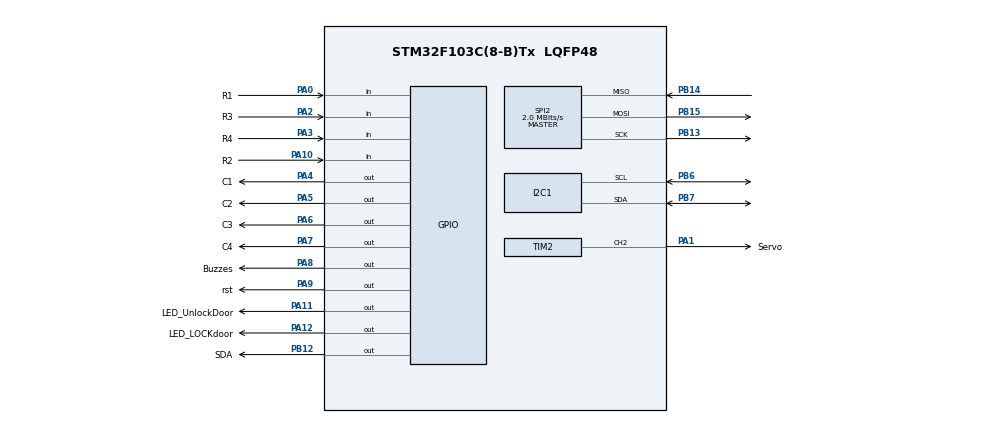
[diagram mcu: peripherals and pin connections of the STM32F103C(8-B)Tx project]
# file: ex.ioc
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Mcu.Family=STM32F1
Mcu.Name=STM32F103C(8-B)Tx
Mcu.Package=LQFP48
NVIC.PriorityGroup=NVIC_PRIORITYGROUP_4
PA0-WKUP.GPIO_Label=R1
PA0-WKUP.GPIO_PuPd=GPIO_PULLUP
PA0-WKUP.Signal=GPIO_Input
PA1.GPIO_Label=Servo
PA1.Signal=S_TIM2_CH2
PA10.GPIO_Label=R2
PA10.GPIO_PuPd=GPIO_PULLUP
PA10.Signal=GPIO_Input
PA11.GPIO_Label=LED_UnlockDoor
PA11.Signal=GPIO_Output
PA12.GPIO_Label=LED_LOCKdoor
PA12.Signal=GPIO_Output
PA13.Mode=Serial_Wire
PA13.Signal=SYS_JTMS-SWDIO
PA14.Mode=Serial_Wire
PA14.Signal=SYS_JTCK-SWCLK
PA2.GPIO_Label=R3
PA2.GPIO_PuPd=GPIO_PULLUP
PA2.Signal=GPIO_Input
PA3.GPIO_Label=R4
PA3.GPIO_PuPd=GPIO_PULLUP
PA3.Signal=GPIO_Input
PA4.GPIO_Label=C1
PA4.Signal=GPIO_Output
PA5.GPIO_Label=C2
PA5.Signal=GPIO_Output
PA6.GPIO_Label=C3
PA6.Signal=GPIO_Output
PA7.GPIO_Label=C4
PA7.Signal=GPIO_Output
PA8.GPIO_Label=Buzzes
PA8.GPIO_ModeDefaultOutputPP=GPIO_MODE_OUTPUT_PP
PA8.Signal=GPIO_Output
PA9.GPIO_Label=rst
PA9.Signal=GPIO_Output
PB12.GPIO_Label=SDA
PB12.GPIO_Speed=GPIO_SPEED_FREQ_HIGH
PB12.Signal=GPIO_Output
PB13.Mode=Full_Duplex_Master
PB13.Signal=SPI2_SCK
PB14.Mode=Full_Duplex_Master
PB14.Signal=SPI2_MISO
PB15.Mode=Full_Duplex_Master
PB15.Signal=SPI2_MOSI
PB6.Mode=I2C
PB6.Signal=I2C1_SCL
PB7.Mode=I2C
PB7.Signal=I2C1_SDA
ProjectManager.HeapSize=0x200
ProjectManager.StackSize=0x400
ProjectManager.TargetToolchain=MDK-ARM V5.32
RCC.APB1Freq_Value=8000000
RCC.APB2Freq_Value=8000000
SH.S_TIM2_CH2.0=TIM2_CH2,PWM Generation2 CH2
SPI2.BaudRatePrescaler=SPI_BAUDRATEPRESCALER_4
SPI2.CRCCalculation=SPI_CRCCALCULATION_DISABLE
SPI2.CalculateBaudRate=2.0 MBits/s
SPI2.Direction=SPI_DIRECTION_2LINES
SPI2.Mode=SPI_MODE_MASTER
SPI2.VirtualType=VM_MASTER
TIM2.Channel-PWM\ Generation2\ CH2=TIM_CHANNEL_2
TIM2.Period=19999
TIM2.Prescaler=63
VP_TIM2_VS_ClockSourceINT.Mode=Internal
board=custom

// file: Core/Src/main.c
/* USER CODE BEGIN Header */
/**
 ******************************************************************************
 * @file           : main.c
 * @brief          : Main program body
 ******************************************************************************
 * @attention
 *
 * Copyright (c) 2026 STMicroelectronics.
 * All rights reserved.
 *
 * This software is licensed under terms that can be found in the LICENSE file
 * in the root directory of this software component.
 * If no LICENSE file comes with this software, it is provided AS-IS.
 *
 ******************************************************************************
 */
/* USER CODE END Header */
#include "main.h"

/* USER CODE BEGIN Includes */
#include "string.h"
#include "stdio.h"
#include "RC522.h"
#include "mg90s.h"
#include "LCD.h"
#include "keypad.h"
/* USER CODE END Includes */

/* USER CODE BEGIN PM */
#define MAX_ANGLE 180.0f
#define SLEEP_TIMEOUT_MS 15000
/* USER CODE END PM */

I2C_HandleTypeDef hi2c1;

SPI_HandleTypeDef hspi2;

TIM_HandleTypeDef htim2;
/* USER CODE BEGIN PV */
uint8_t Backlight = 0;
char buffer[16];
char time_buffer[20];
uint8_t input_mode = 0;
uint8_t input_key = 0;
char input_buffer[10] = {0};
char password[] = "888888";
SystemState_t CurrentState = STATE_LOCK_INPUT;
/* USER CODE END PV */

void SystemClock_Config(void);
static void MX_GPIO_Init(void);
static void MX_I2C1_Init(void);
static void MX_SPI2_Init(void);
static void MX_TIM2_Init(void);

int main(void)
{

  /* MCU Configuration--------------------------------------------------------*/

  /* Reset of all peripherals, Initializes the Flash interface and the Systick. */
  HAL_Init();

  /* Configure the system clock */
  SystemClock_Config();

  /* Initialize all configured peripherals */
  MX_GPIO_Init();
  MX_I2C1_Init();
  MX_SPI2_Init();
  MX_TIM2_Init();
  /* USER CODE BEGIN 2 */
  lcd_init();
  Servo_Init();
  HAL_Delay(50);
  Lcd_xoa_manhinh();
  MFRC522_Init(&MFRC522, &hspi2, SDA_GPIO_Port, SDA_Pin, rst_GPIO_Port, rst_Pin);
  Lcd_Ghi_Lenh(0x80);
  Lcd_Ghi_Chuoi("SmartDoorSystem");
  HAL_Delay(100);
  for (int countdown = 6; countdown >= 0; countdown--)
  {
    Lcd_Ghi_Lenh(0xC0);
    sprintf(time_buffer,"HOAT DONG SAU %dS", countdown);
    Lcd_Ghi_Chuoi(time_buffer);
    HAL_Delay(1000);
  }
  Lcd_xoa_manhinh();
  last_activity_time = HAL_GetTick();
  /* USER CODE END 2 */

  /* Infinite loop */
  /* USER CODE BEGIN WHILE */
  while (1)
  {
    char key = KeyPad_GetKey(); // xử lý nhập keypad
    if (input_mode == 0 && CurrentState == STATE_LOCK_INPUT)
    {
      Lcd_Ghi_Lenh(0xC0);
      for (int i = 0; i < input_key; i++)
      {
        Lcd_Ghi_Chuoi("*");
      }
      if (key != 0)
      {
        HAL_Delay(150);
        last_activity_time = HAL_GetTick();
        if (key >= '0' && key <= '9' && input_key < 6)
        {
          input_buffer[input_key++] = key; // nhập số
          Buzzer_Beep(50);
        }
        if (key == '#' && input_key == 0)
        {
          Lcd_xoa_manhinh();
          HAL_Delay(30);
          Lcd_Ghi_Lenh(0x83);
          Lcd_Ghi_Chuoi(" BAN CHUA");
          Lcd_Ghi_Lenh(0xC2);
          Lcd_Ghi_Chuoi("NHAP MAT KHAU!");
          HAL_Delay(2200);
          Lcd_xoa_manhinh();
          last_activity_time = HAL_GetTick();
        }
        else if (key == '#')
        {
          input_buffer[input_key] = '\0'; // xử lý xác nhận
          if (strcmp(input_buffer, password) == 0)
          {
            Lcd_xoa_manhinh();
            Lcd_Ghi_Lenh(0x80);
            Lcd_Ghi_Chuoi(" MAT KHAU DUNG!");
            Servo_SetAngle(150);
            Buzzer_Beep(50);
            COUNTDOWN();
            Servo_SetAngle(0);
            last_activity_time = HAL_GetTick();
          }
          else
          {
            Lcd_xoa_manhinh();
            Lcd_Ghi_Lenh(0x80);
            Lcd_Ghi_Chuoi(" SAI MAT KHAU");
            Flash_Buzzer_And_Led(3, 50, 50);
            countdown();
          }
          input_key = 0;
          Lcd_xoa_manhinh();
          last_activity_time = HAL_GetTick();
        }
        else if (key == '*')
        {
          // xử lý xóa
          input_key = 0;
          memset(input_buffer, 0, sizeof(input_buffer));
          Lcd_xoa_manhinh();
          last_activity_time = HAL_GetTick();
        }
      }
    }
    if (CurrentState == STATE_SLEEP)
    {
      if (Backlight == 0)
      {
        Lcd_Tat_Den();
      }
    }
    if (CurrentState != STATE_SLEEP && (HAL_GetTick() - last_activity_time > SLEEP_TIMEOUT_MS))
    {
      CurrentState = STATE_SLEEP;
      input_key = 0;
      memset(input_buffer, 0, sizeof(input_buffer));
      Lcd_xoa_manhinh();
      Lcd_Ghi_Lenh(0x80);
      Lcd_Ghi_Chuoi(" NHAP MAT KHAU:");
      Lcd_Tat_Den();
    }
    switch (CurrentState)
    {
    case STATE_LOCK_INPUT:
      Lcd_xoa_manhinh();
      Lcd_Ghi_Lenh(0x80);
      Lcd_Ghi_Chuoi(" NHAP MAT KHAU:");
      if (key == 'A')
      {
        CurrentState = STATE_RFID_ADD_MENU;
        Lcd_xoa_manhinh();
        HAL_Delay(50);
        Lcd_Ghi_Lenh(0x80);
        Lcd_Ghi_Chuoi("OPTION->B:MASTER");
        HAL_Delay(70);
        Lcd_Ghi_Lenh(0xC0);
        Lcd_Ghi_Chuoi("C:MEMBER,D:CLEAR");
        last_activity_time = HAL_GetTick();
        break;
      }
      status = MFRC522_Check(&MFRC522, CardID);
      if (status == MI_OK)
      {
        if ((memcmp(CardID, MasterCardID, 4) == 0 && Master_Card_Exists == 1) || Member(CardID, &MFRC522))
        {
          Access_GrantedCard(" QUET THE SUCCESS");
          break;
        }
        else
        {
          Lcd_xoa_manhinh();
          Lcd_Ghi_Lenh(0x80);
          Lcd_Ghi_Chuoi("   INVALID_CARD");
          CurrentState = STATE_LOCK_INPUT;
          Flash_Buzzer_And_Led(3, 50, 50);
          countdown();
          Lcd_xoa_manhinh();
          Lcd_Ghi_Lenh(0x80);
          Lcd_Ghi_Chuoi("NHAP MAT KHAU:");
          last_activity_time = HAL_GetTick();
          break;
        }
      }
      break;
    case STATE_RFID_ADD_MENU:
      if (key == 'B')
      {
        last_activity_time = HAL_GetTick();
        CurrentState = STATE_ADD_MASTER;
        Lcd_xoa_manhinh();
        HAL_Delay(60);
        Lcd_Ghi_Lenh(0x80);
        Lcd_Ghi_Chuoi(" CHE DO THEM THE:");
        HAL_Delay(70);
        Lcd_Ghi_Lenh(0xC0);
        Lcd_Ghi_Chuoi("MASTER QUET THE");
        break;
      }
      else if (key == 'C')
      {
        if (Master_Card_Exists == 0) // kiểm tra nếu chưa có Master
        {
          Lcd_xoa_manhinh();
          Lcd_Ghi_Lenh(0x80);
          Lcd_Ghi_Chuoi(" ERROR: THEM");
          Lcd_Ghi_Lenh(0xC0);
          Lcd_Ghi_Chuoi(" THE MASTER TRUOC");
          Flash_Buzzer_And_Led(3, 50, 50);
          HAL_Delay(2500);
          CurrentState = STATE_RFID_ADD_MENU;
          Lcd_xoa_manhinh();
          HAL_Delay(30);
          Lcd_Ghi_Lenh(0x80);
          Lcd_Ghi_Chuoi("SELECT->B:MASTER");
          HAL_Delay(70);
          Lcd_Ghi_Lenh(0xC0);
          Lcd_Ghi_Chuoi("C:MEMBER,D:CLEAR");
          last_activity_time = HAL_GetTick();
          break;
        }
        else
        {
          Lcd_xoa_manhinh();
          CurrentState = STATE_ADD_MEMBER;
          Lcd_Ghi_Lenh(0x80);
          Lcd_Ghi_Chuoi("CHE DO THEM THE");
          HAL_Delay(70);
          Lcd_Ghi_Lenh(0xC0);
          Lcd_Ghi_Chuoi("MEMBER:QUET THE");
          last_activity_time = HAL_GetTick();
          break;
        }
      }
      else if (key == 'D')
      {
        if (Master_Card_Exists == 1)
        {
          last_activity_time = HAL_GetTick();
          Lcd_xoa_manhinh();
          CurrentState = STATE_DELETE_MEMBER;
          Lcd_Ghi_Lenh(0x80);
          Lcd_Ghi_Chuoi(" QUET THE MASTER");
          HAL_Delay(70);
          Lcd_Ghi_Lenh(0xC0);
          Lcd_Ghi_Chuoi(" DE XAC NHAN!");
          break;
        }
        else
        {
          Lcd_xoa_manhinh();
          Lcd_Ghi_Lenh(0x80);
          Lcd_Ghi_Chuoi(" ERROR:THE MASTER");
          HAL_Delay(60);
          Lcd_Ghi_Lenh(0xC0);
          Lcd_Ghi_Chuoi(" CHUA DUOC THEM");
          Flash_Buzzer_And_Led(3, 50, 50);
          HAL_Delay(2200);
          Lcd_xoa_manhinh();
          CurrentState = STATE_LOCK_INPUT;
          last_activity_time = HAL_GetTick();
          break;
        }
      }
      else if (key == '*')
      {
        Lcd_xoa_manhinh();
        CurrentState = STATE_LOCK_INPUT;
        last_activity_time = HAL_GetTick();
        break;
      }
      break;
    case STATE_ADD_MASTER:
      status = MFRC522_Check(&MFRC522, CardID);
      if (status == MI_OK)
      {
        if (memcmp(CardID, MasterCardID, 4) == 0)
        {
          Lcd_xoa_manhinh();
          HAL_Delay(20);
          Lcd_Ghi_Lenh(0x80);
          Lcd_Ghi_Chuoi(" SUCCESS MASTER");
          HAL_Delay(60);
          Lcd_Ghi_Lenh(0xC0);
          Lcd_Ghi_Chuoi("DA THEM ID THE");
          Flash_Buzzer_And_Led(1, 50, 1);
          Master_Card_Exists = 1;
        }
        else if (Master_Card_Exists == 1)
        {
          Lcd_xoa_manhinh();
          Lcd_Ghi_Lenh(0x80);
          Lcd_Ghi_Chuoi(" MASTER:ERROR");
          Lcd_Ghi_Lenh(0xC0);
          Lcd_Ghi_Chuoi("THE DA TON TAI");
          Flash_Buzzer_And_Led(3, 50, 50);
        }
        else
        {
          Lcd_xoa_manhinh();
          Lcd_Ghi_Lenh(0x80);
          Lcd_Ghi_Chuoi(" ERROR: THE NAY");
          Lcd_Ghi_Lenh(0xC0);
          Lcd_Ghi_Chuoi("KHONG HOP LE");
          Flash_Buzzer_And_Led(3, 50, 50);
        }
        HAL_Delay(2000);
        CurrentState = STATE_LOCK_INPUT;
        last_activity_time = HAL_GetTick();
        Lcd_xoa_manhinh();
        Lcd_Ghi_Lenh(0x80);
        Lcd_Ghi_Chuoi("NHAP MAT KHAU:");
      }
      break;
    case STATE_ADD_MEMBER:
      status = MFRC522_Check(&MFRC522, CardID);
      if (status == MI_OK)
      {
        uint8_t add_result = AddNewMemberOrMasterCard(CardID);
        Lcd_xoa_manhinh();
        if (add_result == 1)
        {
          HAL_Delay(20);
          Lcd_Ghi_Lenh(0x80);
          Lcd_Ghi_Chuoi("SUCCESS MEMBER");
          HAL_Delay(60);
          Lcd_Ghi_Lenh(0xC0);
          Lcd_Ghi_Chuoi("DA THEM ID THE");
          Flash_Buzzer_And_Led(1, 50, 1);
          HAL_Delay(2000);
        }
        else if (add_result == 2 || add_result == 3)
        {
          HAL_Delay(20);
          Lcd_Ghi_Lenh(0x80);
          Lcd_Ghi_Chuoi("MEMBER:ERROR");
          HAL_Delay(60);
          Lcd_Ghi_Lenh(0xC0);
          Lcd_Ghi_Chuoi("THE DA TON TAI");
          Flash_Buzzer_And_Led(3, 50, 50);
          HAL_Delay(2000);
        }
        Lcd_xoa_manhinh();
        CurrentState = STATE_LOCK_INPUT;
        last_activity_time = HAL_GetTick();
        Lcd_Ghi_Lenh(0x80);
        Lcd_Ghi_Chuoi("NHAP MAT KHAU:");
      }
      break;
    case STATE_DELETE_WAIT:
      if (key == '*')
      {
        CurrentState = STATE_LOCK_INPUT;
        last_activity_time = HAL_GetTick();
        Lcd_xoa_manhinh();
        break;
      }
      status = MFRC522_Check(&MFRC522, CardID);
      if (status == MI_OK)
      {
        uint8_t delete_status = DeleteMemberCard(CardID);
        if (memcmp(CardID, MasterCardID, 4) == 0)
        {
          Lcd_xoa_manhinh();
          HAL_Delay(20);
          Lcd_Ghi_Lenh(0x80);
          Lcd_Ghi_Chuoi(" KHONG XOA DUOC");
          HAL_Delay(50);
          Lcd_Ghi_Lenh(0xC0);
          Lcd_Ghi_Chuoi( " THE MASTER");
          Flash_Buzzer_And_Led(3, 50, 50);
          HAL_Delay(2000);
          Lcd_xoa_manhinh();
          CurrentState = STATE_LOCK_INPUT;
          last_activity_time = HAL_GetTick();
          break;
        }
        if (delete_status == 1)
        {
          Lcd_xoa_manhinh();
          HAL_Delay(30);
          char count_buffer[15];
          Lcd_Ghi_Lenh(0x80);
          Lcd_Ghi_Chuoi("XOA ID MEMBER:OK");
          HAL_Delay(50);
          Lcd_Ghi_Lenh(0xC2);
          sprintf(count_buffer,"CON LAI %d THE", MemberCardCount);
          Lcd_Ghi_Chuoi(count_buffer);
          HAL_Delay(2200);
          last_activity_time = HAL_GetTick();
        }
        else
        {
          Lcd_xoa_manhinh();
          Lcd_Ghi_Lenh(0x80);
          Lcd_Ghi_Chuoi(" DELETE ERROR");
          HAL_Delay(50);
          Flash_Buzzer_And_Led(3, 50, 50);
          Lcd_Ghi_Lenh(0xC0);
          Lcd_Ghi_Chuoi("ID KHONG TON TAI");
          HAL_Delay(2000);
          last_activity_time = HAL_GetTick();
        }
        Lcd_xoa_manhinh();
        CurrentState = STATE_LOCK_INPUT;
        last_activity_time = HAL_GetTick();
      }
      break;
    case STATE_DELETE_MEMBER:
    {
      status = MFRC522_Check(&MFRC522, CardID);
      if (status == MI_OK)
      {
        if ((memcmp(CardID, MasterCardID, 4) == 0 && Master_Card_Exists == 1))
        {
          CurrentState = STATE_DELETE_WAIT;
          last_activity_time = HAL_GetTick();
          Lcd_xoa_manhinh();
          Lcd_Ghi_Lenh(0x84);
          Lcd_Ghi_Chuoi(" XAC NHAN OK!");
          HAL_Delay(50);
          Lcd_Ghi_Lenh(0xC0);
          Lcd_Ghi_Chuoi(" QUET THE DE XOA");
          Flash_Buzzer_And_Led(1, 50, 1);
          HAL_Delay(1200);
        }
        else
        {
          Lcd_xoa_manhinh();
          Lcd_Ghi_Lenh(0x83);
          Lcd_Ghi_Chuoi(" ERROR: KHONG");
          HAL_Delay(50);
          Lcd_Ghi_Lenh(0xC0);
          Lcd_Ghi_Chuoi(" PHAI THE MASTER");
          Flash_Buzzer_And_Led(3, 50, 50);
          HAL_Delay(2000);
          Lcd_xoa_manhinh();
          CurrentState = STATE_LOCK_INPUT;
          last_activity_time = HAL_GetTick();
        }
      }
      break;
    }
    break;
    case STATE_SLEEP:
      if (key != 0)
      {
        Lcd_xoa_manhinh();
        HAL_Delay(50);
        CurrentState = STATE_LOCK_INPUT;
        Lcd_Bat_Den();
        Lcd_xoa_manhinh();
        Lcd_Ghi_Lenh(0x84);
        Lcd_Ghi_Chuoi("NHAP MAT KHAU:");
        last_activity_time = HAL_GetTick();
        break;
      }
      status = MFRC522_Check(&MFRC522, CardID);
      if (status == MI_OK)
      {
        // kiểm tra thẻ chạy cả trong chế độ ngủ
        if ((memcmp(CardID, MasterCardID, 4) == 0 && Master_Card_Exists == 1) || Member(CardID, &MFRC522))
        {
          Lcd_xoa_manhinh();
          HAL_Delay(50);
          CurrentState = STATE_LOCK_INPUT;
          Lcd_Bat_Den();
          Access_GrantedCard(" QUET THE SUCCESS");
          last_activity_time = HAL_GetTick();
        }
        else
        {
          Lcd_xoa_manhinh();
          HAL_Delay(50);
          CurrentState = STATE_LOCK_INPUT;
          Lcd_Bat_Den();
          Lcd_Ghi_Lenh(0x80);
          Lcd_Ghi_Chuoi("INVALID_CASH");
          Flash_Buzzer_And_Led(3, 50, 50);
          countdown();
          last_activity_time = HAL_GetTick();
          Lcd_xoa_manhinh();
          CurrentState = STATE_LOCK_INPUT;
        }
        break;
      }
    }
    /* USER CODE END WHILE */

}
}

void SystemClock_Config(void)
{
  RCC_OscInitTypeDef RCC_OscInitStruct = {0};
  RCC_ClkInitTypeDef RCC_ClkInitStruct = {0};

  /** Initializes the RCC Oscillators according to the specified parameters
  * in the RCC_OscInitTypeDef structure.
  */
  RCC_OscInitStruct.OscillatorType = RCC_OSCILLATORTYPE_HSI;
  RCC_OscInitStruct.HSIState = RCC_HSI_ON;
  RCC_OscInitStruct.HSICalibrationValue = RCC_HSICALIBRATION_DEFAULT;
  RCC_OscInitStruct.PLL.PLLState = RCC_PLL_NONE;
  if (HAL_RCC_OscConfig(&RCC_OscInitStruct) != HAL_OK)
  {
    Error_Handler();
  }

  /** Initializes the CPU, AHB and APB buses clocks
  */
  RCC_ClkInitStruct.ClockType = RCC_CLOCKTYPE_HCLK|RCC_CLOCKTYPE_SYSCLK
                              |RCC_CLOCKTYPE_PCLK1|RCC_CLOCKTYPE_PCLK2;
  RCC_ClkInitStruct.SYSCLKSource = RCC_SYSCLKSOURCE_HSI;
  RCC_ClkInitStruct.AHBCLKDivider = RCC_SYSCLK_DIV1;
  RCC_ClkInitStruct.APB1CLKDivider = RCC_HCLK_DIV1;
  RCC_ClkInitStruct.APB2CLKDivider = RCC_HCLK_DIV1;

  if (HAL_RCC_ClockConfig(&RCC_ClkInitStruct, FLASH_LATENCY_0) != HAL_OK)
  {
    Error_Handler();
  }
}

static void MX_I2C1_Init(void)
{

  hi2c1.Instance = I2C1;
  hi2c1.Init.ClockSpeed = 100000;
  hi2c1.Init.DutyCycle = I2C_DUTYCYCLE_2;
  hi2c1.Init.OwnAddress1 = 0;
  hi2c1.Init.AddressingMode = I2C_ADDRESSINGMODE_7BIT;
  hi2c1.Init.DualAddressMode = I2C_DUALADDRESS_DISABLE;
  hi2c1.Init.OwnAddress2 = 0;
  hi2c1.Init.GeneralCallMode = I2C_GENERALCALL_DISABLE;
  hi2c1.Init.NoStretchMode = I2C_NOSTRETCH_DISABLE;
  if (HAL_I2C_Init(&hi2c1) != HAL_OK)
  {
    Error_Handler();
  }

}

static void MX_SPI2_Init(void)
{

  /* SPI2 parameter configuration*/
  hspi2.Instance = SPI2;
  hspi2.Init.Mode = SPI_MODE_MASTER;
  hspi2.Init.Direction = SPI_DIRECTION_2LINES;
  hspi2.Init.DataSize = SPI_DATASIZE_8BIT;
  hspi2.Init.CLKPolarity = SPI_POLARITY_LOW;
  hspi2.Init.CLKPhase = SPI_PHASE_1EDGE;
  hspi2.Init.NSS = SPI_NSS_SOFT;
  hspi2.Init.BaudRatePrescaler = SPI_BAUDRATEPRESCALER_4;
  hspi2.Init.FirstBit = SPI_FIRSTBIT_MSB;
  hspi2.Init.TIMode = SPI_TIMODE_DISABLE;
  hspi2.Init.CRCCalculation = SPI_CRCCALCULATION_DISABLE;
  hspi2.Init.CRCPolynomial = 10;
  if (HAL_SPI_Init(&hspi2) != HAL_OK)
  {
    Error_Handler();
  }

}

static void MX_TIM2_Init(void)
{

  TIM_ClockConfigTypeDef sClockSourceConfig = {0};
  TIM_MasterConfigTypeDef sMasterConfig = {0};
  TIM_OC_InitTypeDef sConfigOC = {0};

  htim2.Instance = TIM2;
  htim2.Init.Prescaler = 7;       //63
  htim2.Init.CounterMode = TIM_COUNTERMODE_UP;
  htim2.Init.Period = 19999;
  htim2.Init.ClockDivision = TIM_CLOCKDIVISION_DIV1;
  htim2.Init.AutoReloadPreload = TIM_AUTORELOAD_PRELOAD_DISABLE;
  if (HAL_TIM_Base_Init(&htim2) != HAL_OK)
  {
    Error_Handler();
  }
  sClockSourceConfig.ClockSource = TIM_CLOCKSOURCE_INTERNAL;
  if (HAL_TIM_ConfigClockSource(&htim2, &sClockSourceConfig) != HAL_OK)
  {
    Error_Handler();
  }
  if (HAL_TIM_PWM_Init(&htim2) != HAL_OK)
  {
    Error_Handler();
  }
  sMasterConfig.MasterOutputTrigger = TIM_TRGO_RESET;
  sMasterConfig.MasterSlaveMode = TIM_MASTERSLAVEMODE_DISABLE;
  if (HAL_TIMEx_MasterConfigSynchronization(&htim2, &sMasterConfig) != HAL_OK)
  {
    Error_Handler();
  }
  sConfigOC.OCMode = TIM_OCMODE_PWM1;
  sConfigOC.Pulse = 2000;
  sConfigOC.OCPolarity = TIM_OCPOLARITY_HIGH;
  sConfigOC.OCFastMode = TIM_OCFAST_DISABLE;
  if (HAL_TIM_PWM_ConfigChannel(&htim2, &sConfigOC, TIM_CHANNEL_2) != HAL_OK)
  {
    Error_Handler();
  }
  HAL_TIM_MspPostInit(&htim2);

}

static void MX_GPIO_Init(void)
{
  GPIO_InitTypeDef GPIO_InitStruct = {0};

  /* GPIO Ports Clock Enable */
  __HAL_RCC_GPIOA_CLK_ENABLE();
  __HAL_RCC_GPIOB_CLK_ENABLE();

  /*Configure GPIO pin Output Level */
  HAL_GPIO_WritePin(GPIOA, C1_Pin|C2_Pin|C3_Pin|C4_Pin
                          |Buzzes_Pin|rst_Pin|LED_UnlockDoor_Pin|LED_LOCKdoor_Pin, GPIO_PIN_RESET);

  /*Configure GPIO pin Output Level */
  HAL_GPIO_WritePin(SDA_GPIO_Port, SDA_Pin, GPIO_PIN_RESET);

  /*Configure GPIO pins : R1_Pin R3_Pin R4_Pin R2_Pin */
  GPIO_InitStruct.Pin = R1_Pin|R3_Pin|R4_Pin|R2_Pin;
  GPIO_InitStruct.Mode = GPIO_MODE_INPUT;
  GPIO_InitStruct.Pull = GPIO_PULLUP;
  HAL_GPIO_Init(GPIOA, &GPIO_InitStruct);

  /*Configure GPIO pins : C1_Pin C2_Pin C3_Pin C4_Pin
                           Buzzes_Pin rst_Pin LED_UnlockDoor_Pin LED_LOCKdoor_Pin */
  GPIO_InitStruct.Pin = C1_Pin|C2_Pin|C3_Pin|C4_Pin
                          |Buzzes_Pin|rst_Pin|LED_UnlockDoor_Pin|LED_LOCKdoor_Pin;
  GPIO_InitStruct.Mode = GPIO_MODE_OUTPUT_PP;
  GPIO_InitStruct.Pull = GPIO_NOPULL;
  GPIO_InitStruct.Speed = GPIO_SPEED_FREQ_LOW;
  HAL_GPIO_Init(GPIOA, &GPIO_InitStruct);

  /*Configure GPIO pin : SDA_Pin */
  GPIO_InitStruct.Pin = SDA_Pin;
  GPIO_InitStruct.Mode = GPIO_MODE_OUTPUT_PP;
  GPIO_InitStruct.Pull = GPIO_NOPULL;
  GPIO_InitStruct.Speed = GPIO_SPEED_FREQ_HIGH;
  HAL_GPIO_Init(SDA_GPIO_Port, &GPIO_InitStruct);

}

void Error_Handler(void)
{
  __disable_irq();
  while (1)
  {
  }
}
